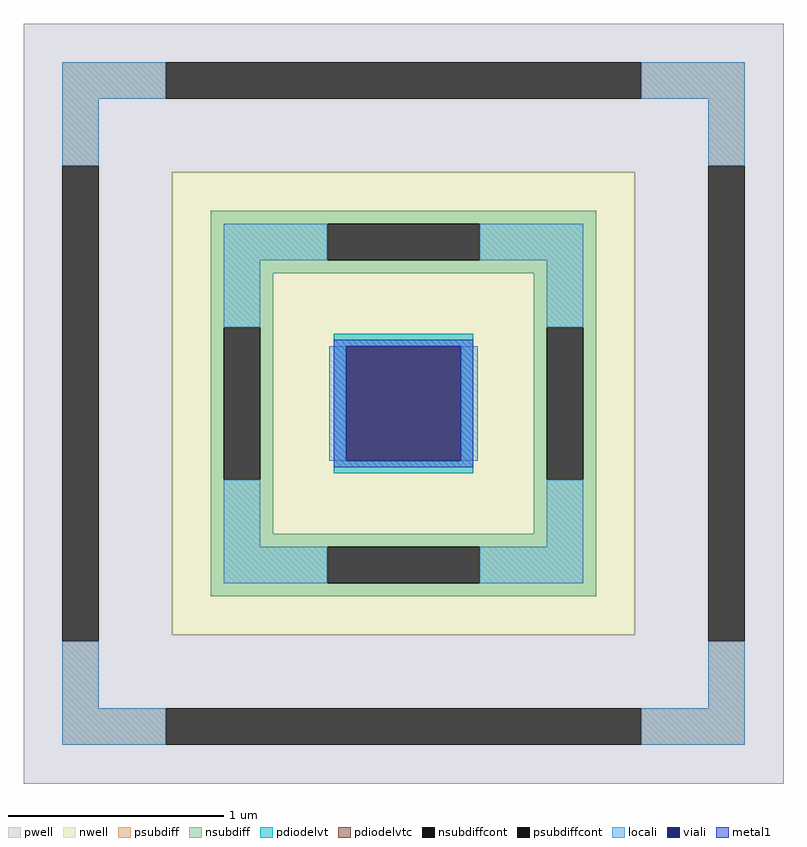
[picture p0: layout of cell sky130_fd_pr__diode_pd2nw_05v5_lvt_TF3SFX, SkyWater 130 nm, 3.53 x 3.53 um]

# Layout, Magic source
magic
tech sky130A
magscale 1 2
<< nwell >>
rect -215 -215 215 215
<< pwell >>
rect -353 215 353 353
rect -353 -215 -215 215
rect 215 -215 353 215
rect -353 -353 353 -215
<< psubdiff >>
rect -317 283 -221 317
rect 221 283 317 317
rect -317 221 -283 283
rect 283 221 317 283
rect -317 -283 -283 -221
rect 283 -283 317 -221
rect -317 -317 -221 -283
rect 221 -317 317 -283
<< nsubdiff >>
rect -179 167 179 179
rect -179 133 -71 167
rect 71 133 179 167
rect -179 121 179 133
rect -179 71 -121 121
rect -179 -71 -167 71
rect -133 -71 -121 71
rect 121 71 179 121
rect -179 -121 -121 -71
rect 121 -71 133 71
rect 167 -71 179 71
rect 121 -121 179 -71
rect -179 -133 179 -121
rect -179 -167 -71 -133
rect 71 -167 179 -133
rect -179 -179 179 -167
<< psubdiffcont >>
rect -221 283 221 317
rect -317 -221 -283 221
rect 283 -221 317 221
rect -221 -317 221 -283
<< nsubdiffcont >>
rect -71 133 71 167
rect -167 -71 -133 71
rect 133 -71 167 71
rect -71 -167 71 -133
<< pdiodelvt >>
rect -65 53 65 65
rect -65 -53 -53 53
rect 53 -53 65 53
rect -65 -65 65 -53
<< pdiodelvtc >>
rect -53 -53 53 53
<< locali >>
rect -317 283 -221 317
rect 221 283 317 317
rect -317 221 -283 283
rect 283 221 317 283
rect -167 133 -71 167
rect 71 133 167 167
rect -167 71 -133 133
rect 133 71 167 133
rect -69 -53 -53 53
rect 53 -53 69 53
rect -167 -133 -133 -71
rect 133 -133 167 -71
rect -167 -167 -71 -133
rect 71 -167 167 -133
rect -317 -283 -283 -221
rect 283 -283 317 -221
rect -317 -317 -221 -283
rect 221 -317 317 -283
<< viali >>
rect -53 -53 53 53
<< metal1 >>
rect -65 53 65 59
rect -65 -53 -53 53
rect 53 -53 65 53
rect -65 -59 65 -53
<< properties >>
string FIXED_BBOX -150 -150 150 150
string gencell sky130_fd_pr__diode_pd2nw_05v5_lvt
string library sky130
string parameters w 0.65 l 0.65 area 422.5m peri 2.6 nx 1 ny 1 dummy 0 lmin 0.45 wmin 0.45 elc 1 erc 1 etc 1 ebc 1 glc 1 grc 1 gtc 1 gbc 1 doverlap 1 compatible {sky130_fd_pr__diode_pd2nw_05v5 sky130_fd_pr__diode_pd2nw_05v5_lvt  sky130_fd_pr__diode_pd2nw_05v5_hvt sky130_fd_pr__diode_pd2nw_11v0} full_metal 1 vias 1 viagb 0 viagt 0 viagl 0 viagr 0
<< end >>
